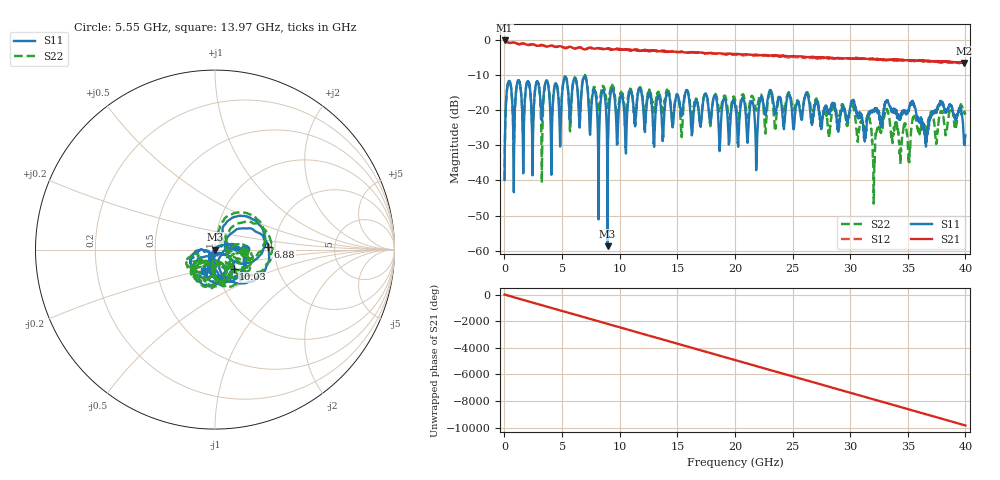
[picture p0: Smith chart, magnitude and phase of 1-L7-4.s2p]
! 2/21/2025 6:59:08 AM
! Z:\OQC\AD5\613\LOT-141-0825\SINGLE\1-L7-4.S2P
! CHANNEL.1
! TR.MEASUREMENT
! CORRECTED.DATA
! RF.CORRECTION: FULL.FOUR.PORT.CAL.PORT.1.2.3.4
! AVERAGING.OFF
! IF.BANDWIDTH: 1KHZ
! SWEEPTYPE:  FREQ.SWEEP(Linear)
! Reference Plane Port Info
! PORT:  PORT1  PORT2
! DISTANCE:  0  m  0  m
! TIME:  0  s  0  s
! PHASE.OFFSET:  0 °  0 °
! LOSS:  0  dB  0  dB
! REF.LOSS:  0  dB  0  dB
! REF.FREQ:  0  Hz  0  Hz
! Power Info
! POWER:  -10  dBm  -10  dBm
! EFF.POWER:  -10  dBm  -10  dBm
! SOURCE.ATTEN:  0  dB  0  dB
! TEST.ATTEN:  0  dB  0  dB
# GHZ S RI R 50.0
! FREQ.GHZ  S11RE  S11IM  S21RE  S21IM  S12RE  S12IM  S22RE  S22IM
!; PortSelection: Port_12
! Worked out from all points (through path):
!   4000 points, 10 MHz to 40 GHz, reference 50 ohm
!   highest |S21| = -0.06 dB at 10 MHz (marker M1); lowest = -6.4 dB at 39.86 GHz (marker M2)
!   group delay of S21, straight-line fit = 682 ps
!   lowest |S11| = -58.7 dB at 8.95 GHz (marker M3), VSWR 1.00, Z = 49.9 + j0.0279 ohm
!   |S11| at or under -10 dB: start of sweep to end of sweep
!   |S22| runs from -46.6 to -9.9 dB; largest |S21 - S12| = 0.031
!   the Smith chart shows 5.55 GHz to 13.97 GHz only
!   S11 on the Smith chart (normalised r, x): 5.55 GHz: 1.40, +0.01; 6.88 GHz: 1.84, +0.06; 10.03 GHz: 1.20, -0.27; 13.97 GHz: 0.86, -0.21
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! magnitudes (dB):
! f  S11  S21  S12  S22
! 10 MHz  -39.8  -0.1  -0.1  -39.8
! 390 MHz  -11.6  -0.7  -0.7  -11.6
! 800 MHz  -39.7  -0.6  -0.6  -31.3
! 1.21 GHz  -11.4  -1.1  -1.1  -11.5
! 1.62 GHz  -36.7  -0.9  -0.9  -28.9
! 2.03 GHz  -11.8  -1.4  -1.3  -11.7
! 2.42 GHz  -33.0  -1.2  -1.2  -26.6
! 5.55 GHz  -15.6  -2.0  -1.9  -15.8
! 6.68 GHz  -14.7  -2.2  -2.2  -14.4
! 6.88 GHz  -10.6  -2.6  -2.5  -10.2
! 8.95 GHz  -58.7  -2.4  -2.4  -19.2
! 10.03 GHz  -16.5  -2.6  -2.7  -15.7
! 13.34 GHz  -15.9  -3.2  -3.1  -15.0
! 13.97 GHz  -17.5  -3.3  -3.0  -15.9
! 20.01 GHz  -18.8  -4.0  -4.2  -17.0
! 26.67 GHz  -23.6  -4.7  -5.0  -21.3
! 31.58 GHz  -21.2  -5.4  -5.4  -21.6
! 32.07 GHz  -20.2  -5.4  -5.2  -40.2
! 33.34 GHz  -18.2  -5.5  -5.6  -21.2
! 35.09 GHz  -19.6  -5.7  -5.8  -34.2
! 39.86 GHz  -28.0  -6.4  -6.3  -20.4
! 40 GHz  -27.1  -6.4  -6.4  -20.6
